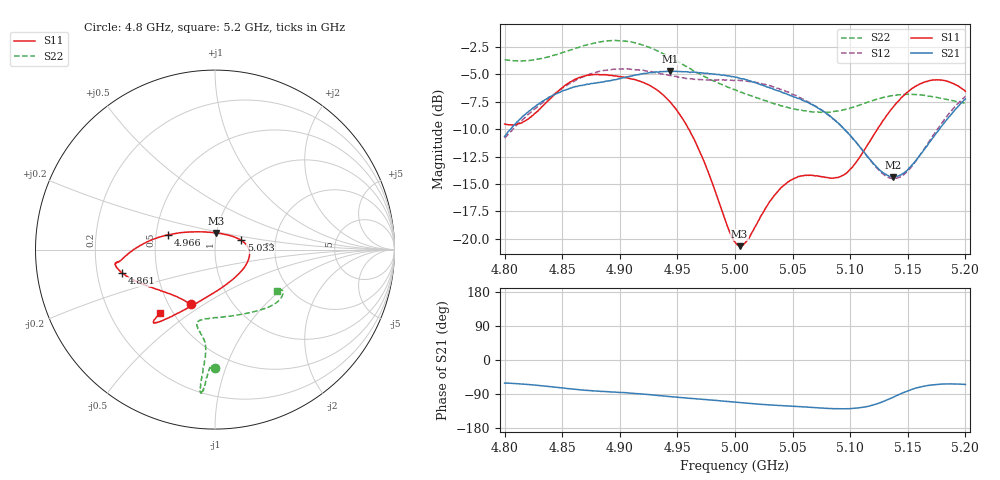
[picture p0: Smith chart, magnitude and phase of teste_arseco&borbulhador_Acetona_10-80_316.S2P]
! Network Analyzer HP8722D
! Hewlett-Packard
! Data name: Linha & Wilkinson
! Saver's name: Rodrigo Anjos
! Comments: Teste da utilização de aquisição
! continua pelo VNA HP8722D
! Time and date: 17/4/2025 16:59
!  Frequency  S11  S21  S12  S22
# HZ  S  MA R 50
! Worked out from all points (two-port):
!   401 points, 4.8 GHz to 5.2 GHz, reference 50 ohm
!   highest |S21| = -4.69 dB at 4.944 GHz (marker M1); lowest = -14.4 dB at 5.137 GHz (marker M2)
!   |S21| within 3 dB of the highest: 4.83 GHz to 5.066 GHz (235.9 MHz wide, 4.77 % of centre); 5.195569 GHz to end of sweep
!   lowest |S11| = -20.7 dB at 5.004 GHz (marker M3), VSWR 1.20, Z = 50 + j9.28 ohm
!   |S11| at or under -10 dB: 4.96 GHz to 5.124 GHz (163.7 MHz wide, 3.25 % of centre)
!   |S22| runs from -8.5 to -1.9 dB; largest |S21 - S12| = 0.87
!   S11 on the Smith chart (normalised r, x): 4.8 GHz: 0.64, -0.44; 4.861 GHz: 0.31, -0.11; 4.966 GHz: 0.58, +0.10; 5.033 GHz: 1.33, +0.14; 5.2 GHz: 0.42, -0.39
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4.8e9  0.3339 -113.9  0.2932 -61.0  0.2879 -175.2  0.657 -90.2
4.819e9  0.3484 -133.9  0.3743 -64.3  0.3628 -173.9  0.6512 -91.8
4.861e9  0.5344 -165.8  0.4939 -77.2  0.5266 -177.1  0.7377 -94.1
4.867e9  0.5487 -168.3  0.5004 -78.9  0.5465 -178.2  0.7551 -94.3
4.9e9  0.5497 -172.5  0.5378 -85.7  0.5945 175.1  0.8014 -95.6
4.934e9  0.4709 -178.5  0.5766 -93.8  0.57 171.5  0.7148 -95.9
4.944e9  0.4197 177.0  0.5825 -96.6  0.5556 171.7  0.6725 -95.7
4.966e9  0.2738 162.5  0.5747 -102.3  0.5345 173.6  0.5781 -95.1
5e9  0.09661 99.3  0.5465 -111.4  0.5296 175.9  0.479 -99.2
5.004e9  0.09248 84.9  0.541 -112.3  0.5278 175.9  0.4697 -100.0
5.011e9  0.09937 60.5  0.53 -114.3  0.5237 175.7  0.4555 -101.6
5.033e9  0.1549 19.4  0.4825 -119.1  0.4931 174.4  0.415 -103.3
5.048e9  0.1847 4.0  0.4506 -121.8  0.462 174.0  0.3943 -99.9
5.067e9  0.1947 -16.0  0.4106 -125.2  0.4125 173.4  0.3792 -90.4
5.085e9  0.1891 -44.4  0.3528 -128.4  0.3533 173.7  0.3808 -76.6
5.097e9  0.1997 -68.7  0.3073 -128.6  0.3082 174.7  0.3907 -66.9
5.123e9  0.3134 -108.6  0.2126 -115.9  0.211 -170.5  0.4336 -48.6
5.134e9  0.3792 -117.3  0.1928 -102.8  0.1894 -155.9  0.4477 -43.0
5.137e9  0.3969 -119.1  0.1914 -98.8  0.1883 -150.9  0.4509 -41.7
5.15e9  0.4679 -124.8  0.2066 -81.4  0.204 -131.1  0.4566 -36.8
5.17e9  0.5282 -129.4  0.2805 -66.1  0.2856 -112.3  0.4467 -32.1
5.2e9  0.4712 -131.0  0.4346 -64.7  0.4469 -106.8  0.4153 -33.6
